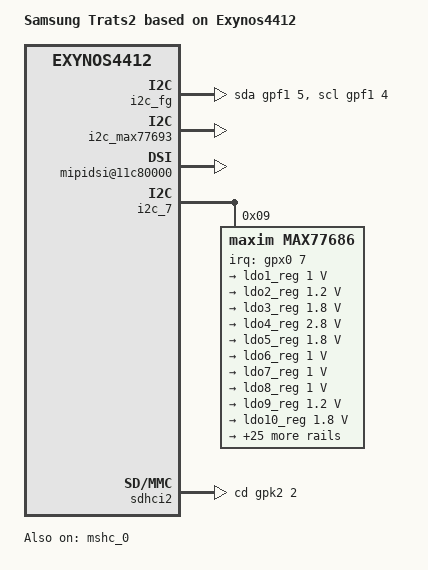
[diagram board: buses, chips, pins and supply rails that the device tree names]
// SPDX-License-Identifier: GPL-2.0+
/*
 * Samsung's Exynos4412 based Trats2 board device tree source
 *
 * Copyright (c) 2014 Samsung Electronics Co., Ltd.
 *		http://www.samsung.com
 */

/dts-v1/;
#include "exynos4412.dtsi"

/ {
	model = "Samsung Trats2 based on Exynos4412";
	compatible = "samsung,trats2", "samsung,exynos4412";

	config {
		samsung,dsim-device-name = "s6e8ax0";
	};

	aliases {
		i2c8 = &i2c_fg;
		i2c9 = &i2c_max77693;
		serial0 = "/serial@13800000";
		console = "/serial@13820000";
		mmc0 = &mshc_0;
		mmc1 = &sdhci2;
	};

	i2c_fg: fuel-gauge {
		compatible = "i2c-gpio";
		gpios = <&gpf1 5 0>,	/* sda */
			<&gpf1 4 0>;	/* scl */
		i2c-gpio,delay-us = <2>;        /* ~100 kHz */
		status = "okay";
	};

	i2c_max77693: max77693 {
		compatible = "i2c-gpio";
		gpio = <&gpm2 0 0>,	/* sda */
		       <&gpm2 1 0>;	/* scl */
		i2c-gpio,delay-us = <2>;        /* ~100 kHz */
		status = "okay";
	};

	fimd@11c00000 {
		compatible = "samsung,exynos-fimd";
		reg = <0x11c00000 0xa4>;

		samsung,vl-freq = <60>;
		samsung,vl-col = <720>;
		samsung,vl-row = <1280>;
		samsung,vl-width = <720>;
		samsung,vl-height = <1280>;

		samsung,vl-clkp = <0>;
		samsung,vl-oep = <0>;
		samsung,vl-hsp = <1>;
		samsung,vl-vsp = <1>;
		samsung,vl-dp = <1>;
		samsung,vl-bpix = <4>;

		samsung,vl-hspw = <5>;
		samsung,vl-hbpd = <10>;
		samsung,vl-hfpd = <10>;
		samsung,vl-vspw = <2>;
		samsung,vl-vbpd = <1>;
		samsung,vl-vfpd = <13>;
		samsung,vl-cmd-allow-len = <0xf>;

		samsung,winid = <0>;
		samsung,power-on-delay = <30>;
		samsung,interface-mode = <1>;
		samsung,mipi-enabled = <1>;
		samsung,dp-enabled;
		samsung,dual-lcd-enabled;

		samsung,logo-on = <1>;
		samsung,resolution = <0>;
		samsung,rgb-mode = <0>;
	};

	mipidsi@11c80000 {
		compatible = "samsung,exynos-mipi-dsi";
		reg = <0x11c80000 0x5c>;

		samsung,dsim-config-e-interface = <1>;
		samsung,dsim-config-e-virtual-ch = <0>;
		samsung,dsim-config-e-pixel-format = <7>;
		samsung,dsim-config-e-burst-mode = <1>;
		samsung,dsim-config-e-no-data-lane = <3>;
		samsung,dsim-config-e-byte-clk = <0>;
		samsung,dsim-config-hfp = <1>;

		samsung,dsim-config-p = <3>;
		samsung,dsim-config-m = <120>;
		samsung,dsim-config-s = <1>;

		samsung,dsim-config-pll-stable-time = <500>;
		samsung,dsim-config-esc-clk = <20000000>;
		samsung,dsim-config-stop-holding-cnt = <0x7ff>;
		samsung,dsim-config-bta-timeout = <0xff>;
		samsung,dsim-config-rx-timeout = <0xffff>;

		samsung,dsim-device-id = <0xffffffff>;
		samsung,dsim-device-bus-id = <0>;

		samsung,dsim-device-reverse-panel = <1>;
	};

	sdhci@12510000 {
		samsung,bus-width = <8>;
		samsung,timing = <1 3 3>;
		pwr-gpios = <&gpk0 4 0>;
		status = "disabled";
	};
};

&i2c_7 {
	samsung,i2c-sda-delay = <100>;
	samsung,i2c-slave-addr = <0x10>;
	samsung,i2c-max-bus-freq = <100000>;
	status = "okay";

	max77686: max77686_pmic@09 {
		compatible = "maxim,max77686";
		interrupt-parent = <&gpx0>;
		interrupts = <7 0>;
		reg = <0x09 0 0>;
		#clock-cells = <1>;

		voltage-regulators {
			ldo1_reg: LDO1 {
				regulator-compatible = "LDO1";
				regulator-name = "VALIVE_1.0V_AP";
				regulator-min-microvolt = <1000000>;
				regulator-max-microvolt = <1000000>;
				regulator-always-on;
				regulator-mem-on;
			};

			ldo2_reg: LDO2 {
				regulator-compatible = "LDO2";
				regulator-name = "VM1M2_1.2V_AP";
				regulator-min-microvolt = <1200000>;
				regulator-max-microvolt = <1200000>;
				regulator-always-on;
				regulator-mem-on;
			};

			ldo3_reg: LDO3 {
				regulator-compatible = "LDO3";
				regulator-name = "VCC_1.8V_AP";
				regulator-min-microvolt = <1800000>;
				regulator-max-microvolt = <1800000>;
				regulator-always-on;
				regulator-mem-on;
			};

			ldo4_reg: LDO4 {
				regulator-compatible = "LDO4";
				regulator-name = "VCC_2.8V_AP";
				regulator-min-microvolt = <2800000>;
				regulator-max-microvolt = <2800000>;
				regulator-always-on;
				regulator-mem-on;
			};

			ldo5_reg: LDO5 {
				regulator-compatible = "LDO5";
				regulator-name = "VCC_1.8V_IO";
				regulator-min-microvolt = <1800000>;
				regulator-max-microvolt = <1800000>;
				regulator-always-on;
				regulator-mem-on;
			};

			ldo6_reg: LDO6 {
				regulator-compatible = "LDO6";
				regulator-name = "VMPLL_1.0V_AP";
				regulator-min-microvolt = <1000000>;
				regulator-max-microvolt = <1000000>;
				regulator-always-on;
				regulator-mem-on;
			};

			ldo7_reg: LDO7 {
				regulator-compatible = "LDO7";
				regulator-name = "VPLL_1.0V_AP";
				regulator-min-microvolt = <1000000>;
				regulator-max-microvolt = <1000000>;
				regulator-always-on;
				regulator-mem-on;
			};

			ldo8_reg: LDO8 {
				regulator-compatible = "LDO8";
				regulator-name = "VMIPI_1.0V";
				regulator-min-microvolt = <1000000>;
				regulator-max-microvolt = <1000000>;
				regulator-mem-off;
			};

			ldo9_reg: LDO9 {
				regulator-compatible = "LDO9";
				regulator-name = "CAM_ISP_MIPI_1.2V";
				regulator-min-microvolt = <1200000>;
				regulator-max-microvolt = <1200000>;
				regulator-mem-idle;
			};

			ldo10_reg: LDO10 {
				regulator-compatible = "LDO10";
				regulator-name = "VMIPI_1.8V";
				regulator-min-microvolt = <1800000>;
				regulator-max-microvolt = <1800000>;
				regulator-mem-off;
			};

			ldo11_reg: LDO11 {
				regulator-compatible = "LDO11";
				regulator-name = "VABB1_1.95V";
				regulator-min-microvolt = <1950000>;
				regulator-max-microvolt = <1950000>;
				regulator-always-on;
				regulator-mem-off;
			};

			ldo12_reg: LDO12 {
				regulator-compatible = "LDO12";
				regulator-name = "VUOTG_3.0V";
				regulator-min-microvolt = <3000000>;
				regulator-max-microvolt = <3000000>;
				regulator-mem-off;
			};

			ldo13_reg: LDO13 {
				regulator-compatible = "LDO13";
				regulator-name = "NFC_AVDD_1.8V";
				regulator-min-microvolt = <1800000>;
				regulator-max-microvolt = <1800000>;
				regulator-mem-idle;
			};

			ldo14_reg: LDO14 {
				regulator-compatible = "LDO14";
				regulator-name = "VABB2_1.95V";
				regulator-min-microvolt = <1950000>;
				regulator-max-microvolt = <1950000>;
				regulator-always-on;
				regulator-mem-off;
			};

			ldo15_reg: LDO15 {
				regulator-compatible = "LDO15";
				regulator-name = "VHSIC_1.0V";
				regulator-min-microvolt = <1000000>;
				regulator-max-microvolt = <1000000>;
				regulator-mem-off;
			};

			ldo16_reg: LDO16 {
				regulator-compatible = "LDO16";
				regulator-name = "VHSIC_1.8V";
				regulator-min-microvolt = <1800000>;
				regulator-max-microvolt = <1800000>;
				regulator-mem-off;
			};

			ldo17_reg: LDO17 {
				regulator-compatible = "LDO17";
				regulator-name = "CAM_SENSOR_CORE_1.2V";
				regulator-min-microvolt = <1200000>;
				regulator-max-microvolt = <1200000>;
				regulator-mem-idle;
			};

			ldo18_reg: LDO18 {
				regulator-compatible = "LDO18";
				regulator-name = "CAM_ISP_SEN_IO_1.8V";
				regulator-min-microvolt = <1800000>;
				regulator-max-microvolt = <1800000>;
				regulator-mem-idle;
			};

			ldo19_reg: LDO19 {
				regulator-compatible = "LDO19";
				regulator-name = "VT_CAM_1.8V";
				regulator-min-microvolt = <1800000>;
				regulator-max-microvolt = <1800000>;
				regulator-mem-idle;
			};

			ldo20_reg: LDO20 {
				regulator-compatible = "LDO20";
				regulator-name = "VDDQ_PRE_1.8V";
				regulator-min-microvolt = <1800000>;
				regulator-max-microvolt = <1800000>;
				regulator-mem-idle;
			};

			ldo21_reg: LDO21 {
				regulator-compatible = "LDO21";
				regulator-name = "VTF_2.8V";
				regulator-min-microvolt = <2800000>;
				regulator-max-microvolt = <2800000>;
				regulator-mem-idle;
			};

			ldo22_reg: LDO22 {
				regulator-compatible = "LDO22";
				regulator-name = "VMEM_VDD_2.8V";
				regulator-min-microvolt = <2800000>;
				regulator-max-microvolt = <2800000>;
				regulator-always-on;
				regulator-mem-off;
			};

			ldo23_reg: LDO23 {
				regulator-compatible = "LDO23";
				regulator-name = "TSP_AVDD_3.3V";
				regulator-min-microvolt = <3300000>;
				regulator-max-microvolt = <3300000>;
				regulator-mem-idle;
			};

			ldo24_reg: LDO24 {
				regulator-compatible = "LDO24";
				regulator-name = "TSP_VDD_1.8V";
				regulator-min-microvolt = <1800000>;
				regulator-max-microvolt = <1800000>;
				regulator-mem-idle;
			};

			ldo25_reg: LDO25 {
				regulator-compatible = "LDO25";
				regulator-name = "LCD_VCC_3.3V";
				regulator-min-microvolt = <2800000>;
				regulator-max-microvolt = <2800000>;
				regulator-mem-idle;
			};

			ldo26_reg: LDO26 {
				regulator-compatible = "LDO26";
				regulator-name = "MOTOR_VCC_3.0V";
				regulator-min-microvolt = <3000000>;
				regulator-max-microvolt = <3000000>;
				regulator-mem-idle;
			};

			buck1_reg: BUCK1 {
				regulator-compatible = "BUCK1";
				regulator-name = "vdd_mif";
				regulator-min-microvolt = <850000>;
				regulator-max-microvolt = <1100000>;
				regulator-always-on;
				regulator-boot-on;
				regulator-mem-off;
			};

			buck2_reg: BUCK2 {
				regulator-compatible = "BUCK2";
				regulator-name = "vdd_arm";
				regulator-min-microvolt = <850000>;
				regulator-max-microvolt = <1500000>;
				regulator-always-on;
				regulator-boot-on;
				regulator-mem-off;
			};

			buck3_reg: BUCK3 {
				regulator-compatible = "BUCK3";
				regulator-name = "vdd_int";
				regulator-min-microvolt = <850000>;
				regulator-max-microvolt = <1150000>;
				regulator-always-on;
				regulator-boot-on;
				regulator-mem-off;
			};

			buck4_reg: BUCK4 {
				regulator-compatible = "BUCK4";
				regulator-name = "vdd_g3d";
				regulator-min-microvolt = <850000>;
				regulator-max-microvolt = <1150000>;
				regulator-boot-on;
				regulator-mem-off;
			};

			buck5_reg: BUCK5 {
				regulator-compatible = "BUCK5";
				regulator-name = "VMEM_1.2V_AP";
				regulator-min-microvolt = <1200000>;
				regulator-max-microvolt = <1200000>;
				regulator-always-on;
			};

			buck6_reg: BUCK6 {
				regulator-compatible = "BUCK6";
				regulator-name = "VCC_SUB_1.35V";
				regulator-min-microvolt = <1350000>;
				regulator-max-microvolt = <1350000>;
				regulator-always-on;
			};

			buck7_reg: BUCK7 {
				regulator-compatible = "BUCK7";
				regulator-name = "VCC_SUB_2.0V";
				regulator-min-microvolt = <2000000>;
				regulator-max-microvolt = <2000000>;
				regulator-always-on;
			};

			buck8_reg: BUCK8 {
				regulator-compatible = "BUCK8";
				regulator-name = "VMEM_VDDF_3.0V";
				regulator-min-microvolt = <2850000>;
				regulator-max-microvolt = <2850000>;
				regulator-always-on;
				regulator-mem-off;
			};

			buck9_reg: BUCK9 {
				regulator-compatible = "BUCK9";
				regulator-name = "CAM_ISP_CORE_1.2V";
				regulator-min-microvolt = <1000000>;
				regulator-max-microvolt = <1200000>;
				regulator-mem-off;
			};
		};
	};
};

&sdhci0 {
	samsung,bus-width = <8>;
	samsung,timing = <1 3 3>;
	pwr-gpios = <&gpk0 4 0>;
	status = "disabled";
};

&sdhci2 {
	samsung,bus-width = <4>;
	samsung,timing = <1 2 3>;
	cd-gpios = <&gpk2 2 0>;
	status = "okay";
};

&mshc_0 {
	samsung,bus-width = <8>;
	samsung,timing = <2 1 0>;
	samsung,removable = <0>;
	fifoth_val = <0x203f0040>;
	bus_hz = <400000000>;
	div = <0x3>;
	index = <4>;
	fifo-depth = <0x80>;
	status = "okay";
};
